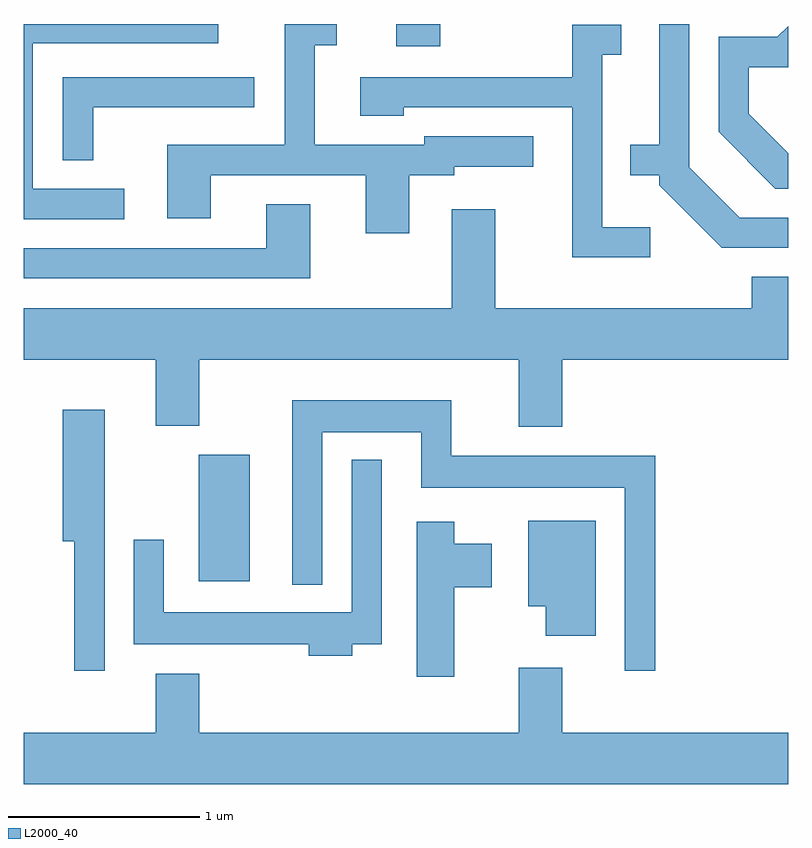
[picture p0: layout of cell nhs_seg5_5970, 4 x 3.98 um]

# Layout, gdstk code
import gdstk
lib = gdstk.Library(unit=1e-6, precision=1e-09)
def R(c, l, rs):  # rectangles x0, y0, x1, y1
    for r in rs: c.add(gdstk.rectangle(r[:2], r[2:], *l))
def P(c, l, *ps):  # polygons
    for p in ps: c.add(gdstk.Polygon(p, *l))
L2000_40 = (2000, 40)

nhs_seg5_5970 = lib.new_cell('nhs_seg5_5970')
R(nhs_seg5_5970, L2000_40, [(362.526,1491.156,362.794,1491.819), (363.561,1493.956,363.789,1494.072)])
P(nhs_seg5_5970, L2000_40, [(365.611,1493.059),(365.357,1493.059),(365.094,1493.322),(365.094,1494.072),(364.936,1494.072),(364.936,1493.439),(364.783,1493.439),(364.783,1493.281),(364.936,1493.281),(364.936,1493.229),(365.264,1492.901),(365.611,1492.901)],
  [(363.629,1493.281),(363.864,1493.281),(363.864,1493.326),(364.278,1493.326),(364.278,1493.484),(363.706,1493.484),(363.706,1493.439),(363.134,1493.439),(363.134,1493.961),(363.248,1493.961),(363.248,1494.072),(362.976,1494.072),(362.976,1493.439),(362.361,1493.439),(362.361,1493.056),(362.589,1493.056),(362.589,1493.281),(363.401,1493.281),(363.401,1492.976),(363.629,1492.976)],
  [(362.138,1493.209),(361.659,1493.209),(361.659,1493.971),(362.628,1493.971),(362.628,1494.072),(361.611,1494.072),(361.611,1493.051),(362.138,1493.051)],
  [(364.888,1493.009),(364.639,1493.009),(364.639,1493.911),(364.738,1493.911),(364.738,1494.069),(364.481,1494.069),(364.481,1493.794),(363.371,1493.794),(363.371,1493.591),(363.599,1493.591),(363.599,1493.636),(364.481,1493.636),(364.481,1492.851),(364.888,1492.851)],
  [(365.611,1493.395),(365.404,1493.602),(365.404,1493.846),(365.611,1493.846),(365.611,1494.061),(365.554,1494.004),(365.246,1494.004),(365.246,1493.509),(365.544,1493.211),(365.611,1493.211)],
  [(361.974,1493.636),(362.818,1493.636),(362.818,1493.794),(361.816,1493.794),(361.816,1493.358),(361.974,1493.358)],
  [(363.109,1493.129),(362.881,1493.129),(362.881,1492.899),(361.611,1492.899),(361.611,1492.741),(363.109,1492.741)],
  [(364.429,1492.316),(365.611,1492.316),(365.611,1492.749),(365.421,1492.749),(365.421,1492.584),(364.079,1492.584),(364.079,1493.104),(363.851,1493.104),(363.851,1492.584),(361.611,1492.584),(361.611,1492.316),(362.301,1492.316),(362.301,1491.971),(362.529,1491.971),(362.529,1492.316),(364.201,1492.316),(364.201,1491.966),(364.429,1491.966)],
  [(364.914,1491.814),(363.849,1491.814),(363.849,1492.104),(363.016,1492.104),(363.016,1491.138),(363.174,1491.138),(363.174,1491.936),(363.691,1491.936),(363.691,1491.646),(364.756,1491.646),(364.756,1490.688),(364.914,1490.688)],
  [(362.034,1492.054),(361.816,1492.054),(361.816,1491.366),(361.876,1491.366),(361.876,1490.688),(362.034,1490.688)],
  [(363.329,1490.826),(363.484,1490.826),(363.484,1491.793),(363.326,1491.793),(363.326,1490.994),(362.344,1490.994),(362.344,1491.373),(362.186,1491.373),(362.186,1490.826),(363.101,1490.826),(363.101,1490.766),(363.329,1490.766)],
  [(364.604,1491.474),(364.251,1491.474),(364.251,1491.026),(364.341,1491.026),(364.341,1490.871),(364.604,1490.871)],
  [(363.864,1491.126),(364.059,1491.126),(364.059,1491.354),(363.864,1491.354),(363.864,1491.469),(363.666,1491.469),(363.666,1490.656),(363.864,1490.656)],
  [(365.611,1490.364),(364.429,1490.364),(364.429,1490.704),(364.201,1490.704),(364.201,1490.364),(362.529,1490.364),(362.529,1490.674),(362.301,1490.674),(362.301,1490.364),(361.611,1490.364),(361.611,1490.096),(365.611,1490.096)])

lib.write_gds('nhs_seg5_5970.gds')
